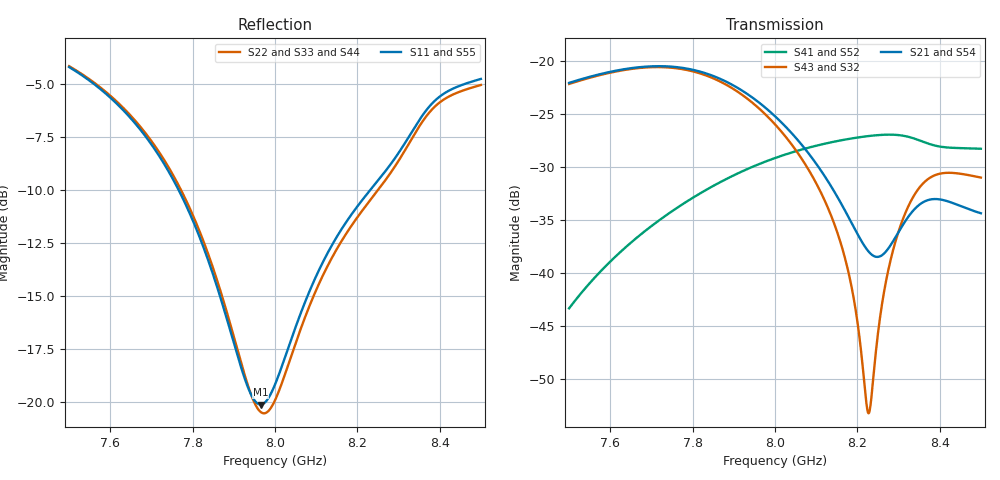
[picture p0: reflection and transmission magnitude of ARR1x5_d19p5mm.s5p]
! Touchstone file exported from HFSS 2025.1.0
!  File:  C:/Users/user/Documents/Ansoft/TFG_UWB-MIMO-Array.aedt
!  Generated:  02:04:22 PM Nov 20, 2026
!  Design:  ARR1x5_US3_PS6_dparam
!  Project:  TFG_UWB-MIMO-Array
!  Setup:  Setup_ch9
!  Solution:  Sweep_7p5_8p5
! Variables:
!  arr_d = 19.5mm
!  board_m = 13mm
!  board_x = 104mm
!  board_y = 26mm
!  cu_t = 0.035mm
!  line_w = 3.92mm
!  pad_xy = 22mm
!  pad_zn = 25mm
!  pad_zp = 33mm
!  par_L = 7.05mm
!  par_W = 11mm
!  par_yc = 0.615mm
!  par_z = 1.035mm
!  patch_L = 6.29mm
!  patch_W = 11.421266mm
!  sub_h = 2.07mm
!  tr_l = 6.6mm
!  tr_w = 0.8mm
!  u_Lu = 2.65mm
!  u_Wu = 4.4mm
!  u_t = 0.8mm
!  u_y0 = -0.7mm
# GHz S MA R 50.000000
! Terminal data exported
! Port[1] = P1
! Port[2] = P2
! Port[3] = P3
! Port[4] = P4
! Port[5] = P5
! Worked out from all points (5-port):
!   1001 points, 7.5 GHz to 8.5 GHz, reference 50 ohm
!   strongest paths, dB at 7.5 GHz, 7.75 GHz, 8 GHz, 8.25 GHz, 8.5 GHz:
!     S21: -22.0, -20.5, -25.2, -38.5, -34.3
!     S54: -22.0, -20.5, -25.2, -38.5, -34.2
!     S43: -22.1, -20.6, -25.9, -45.7, -31.0
!     S32: -22.1, -20.6, -26.0, -45.7, -30.9
!     S41: -43.3, -34.1, -29.1, -27.0, -28.2
!     S52: -43.4, -34.2, -29.2, -27.0, -28.3
!   lowest |S11| = -20.1 dB at 7.965 GHz (marker M1), VSWR 1.22, Z = 60.4 - j3.41 ohm
!   |S11| at or under -10 dB: 7.766 GHz to 8.231 GHz (464.4 MHz wide, 5.81 % of centre)
